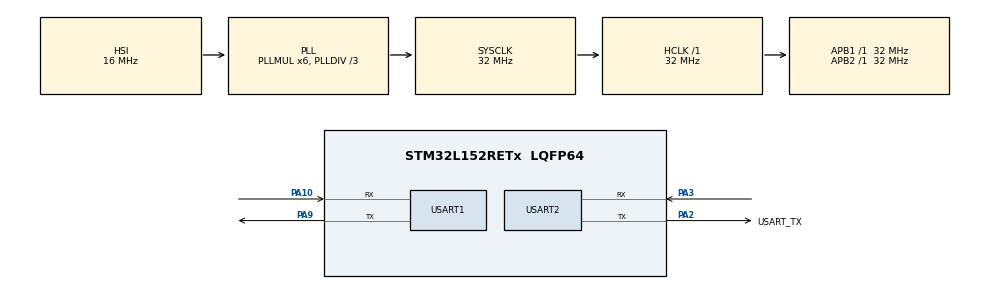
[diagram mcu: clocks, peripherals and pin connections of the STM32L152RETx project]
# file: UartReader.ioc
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Dma.Request0=USART1_RX
Dma.USART1_RX.0.Direction=DMA_PERIPH_TO_MEMORY
Dma.USART1_RX.0.Instance=DMA1_Channel5
Dma.USART1_RX.0.MemDataAlignment=DMA_MDATAALIGN_BYTE
Dma.USART1_RX.0.MemInc=DMA_MINC_ENABLE
Dma.USART1_RX.0.Mode=DMA_NORMAL
Dma.USART1_RX.0.PeriphDataAlignment=DMA_PDATAALIGN_BYTE
Dma.USART1_RX.0.PeriphInc=DMA_PINC_DISABLE
Dma.USART1_RX.0.Priority=DMA_PRIORITY_LOW
Mcu.Family=STM32L1
Mcu.Name=STM32L152RETx
Mcu.Package=LQFP64
NVIC.DMA1_Channel5_IRQn=true\:0\:0\:false\:false\:true\:false
NVIC.PriorityGroup=NVIC_PRIORITYGROUP_0
NVIC.USART1_IRQn=true\:0\:0\:false\:false\:true\:true
PA10.Mode=Asynchronous
PA10.Signal=USART1_RX
PA13.GPIO_Label=TMS
PA13.Signal=SYS_JTMS-SWDIO
PA14.GPIO_Label=TCK
PA14.Signal=SYS_JTCK-SWCLK
PA2.GPIO_Label=USART_TX
PA2.Mode=Asynchronous
PA2.Signal=USART2_TX
PA3.Mode=Asynchronous
PA3.Signal=USART2_RX
PA9.Mode=Asynchronous
PA9.Signal=USART1_TX
PB3.GPIO_Label=SWO
PB3.Signal=SYS_JTDO-TRACESWO
PC14-OSC32_IN.Signal=RCC_OSC32_IN
PC15-OSC32_OUT.Signal=RCC_OSC32_OUT
PH0-OSC_IN.Signal=RCC_OSC_IN
PH1-OSC_OUT.Signal=RCC_OSC_OUT
ProjectManager.HeapSize=0x200
ProjectManager.StackSize=0x400
ProjectManager.TargetToolchain=SW4STM32
RCC.48MHZClocksFreq_Value=48000000
RCC.AHBFreq_Value=32000000
RCC.APB1Freq_Value=32000000
RCC.APB1TimFreq_Value=32000000
RCC.APB2Freq_Value=32000000
RCC.APB2TimFreq_Value=32000000
RCC.HCLKFreq_Value=32000000
RCC.HSE_VALUE=8000000
RCC.HSI_VALUE=16000000
RCC.LSE_VALUE=32768
RCC.MSI_VALUE=2097000
RCC.PLLDIV=RCC_PLL_DIV3
RCC.PLLMUL=RCC_PLL_MUL6
RCC.RTCClockSelectionVirtual=RCC_RTCCLKSOURCE_LSE
RCC.SYSCLKFreq_VALUE=32000000
RCC.SYSCLKSource=RCC_SYSCLKSOURCE_PLLCLK
RCC.USBOutput=48000000
RCC.VCOOutputFreq_Value=96000000
USART1.VirtualMode=VM_ASYNC
USART2.VirtualMode=VM_ASYNC
board=NUCLEO-L152RE

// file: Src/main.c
/**
  ******************************************************************************
  * File Name          : main.c
  * Description        : Main program body
  ******************************************************************************
  ** This notice applies to any and all portions of this file
  * that are not between comment pairs USER CODE BEGIN and
  * USER CODE END. Other portions of this file, whether
  * inserted by the user or by software development tools
  * are owned by their respective copyright owners.
  *
  * COPYRIGHT(c) 2017 STMicroelectronics
  *
  * Redistribution and use in source and binary forms, with or without modification,
  * are permitted provided that the following conditions are met:
  *   1. Redistributions of source code must retain the above copyright notice,
  *      this list of conditions and the following disclaimer.
  *   2. Redistributions in binary form must reproduce the above copyright notice,
  *      this list of conditions and the following disclaimer in the documentation
  *      and/or other materials provided with the distribution.
  *   3. Neither the name of STMicroelectronics nor the names of its contributors
  *      may be used to endorse or promote products derived from this software
  *      without specific prior written permission.
  *
  * THIS SOFTWARE IS PROVIDED BY THE COPYRIGHT HOLDERS AND CONTRIBUTORS "AS IS"
  * AND ANY EXPRESS OR IMPLIED WARRANTIES, INCLUDING, BUT NOT LIMITED TO, THE
  * IMPLIED WARRANTIES OF MERCHANTABILITY AND FITNESS FOR A PARTICULAR PURPOSE ARE
  * DISCLAIMED. IN NO EVENT SHALL THE COPYRIGHT HOLDER OR CONTRIBUTORS BE LIABLE
  * FOR ANY DIRECT, INDIRECT, INCIDENTAL, SPECIAL, EXEMPLARY, OR CONSEQUENTIAL
  * DAMAGES (INCLUDING, BUT NOT LIMITED TO, PROCUREMENT OF SUBSTITUTE GOODS OR
  * SERVICES; LOSS OF USE, DATA, OR PROFITS; OR BUSINESS INTERRUPTION) HOWEVER
  * CAUSED AND ON ANY THEORY OF LIABILITY, WHETHER IN CONTRACT, STRICT LIABILITY,
  * OR TORT (INCLUDING NEGLIGENCE OR OTHERWISE) ARISING IN ANY WAY OUT OF THE USE
  * OF THIS SOFTWARE, EVEN IF ADVISED OF THE POSSIBILITY OF SUCH DAMAGE.
  *
  ******************************************************************************
  */

#include "main.h"
#include "stm32l1xx_hal.h"

UART_HandleTypeDef huart1;
UART_HandleTypeDef huart2;
DMA_HandleTypeDef hdma_usart1_rx;

/* USER CODE BEGIN PV */
/* Private variables ---------------------------------------------------------*/

/* USER CODE END PV */

void SystemClock_Config(void);
static void MX_GPIO_Init(void);
static void MX_DMA_Init(void);
static void MX_USART1_UART_Init(void);
static void MX_USART2_UART_Init(void);

/* USER CODE BEGIN PFP */
/* Private function prototypes -----------------------------------------------*/

/* USER CODE END PFP */

/* USER CODE BEGIN 0 */

uint8_t dataArrived = 0;

/* USER CODE END 0 */

int main(void)
{

  /* USER CODE BEGIN 1 */
	uint8_t msg[30];
	uint8_t startmsg[30];

  /* USER CODE END 1 */

  /* MCU Configuration----------------------------------------------------------*/

  /* Reset of all peripherals, Initializes the Flash interface and the Systick. */
  HAL_Init();

  /* Configure the system clock */
  SystemClock_Config();

  /* Initialize all configured peripherals */
  MX_GPIO_Init();
  MX_DMA_Init();
  MX_USART1_UART_Init();
  MX_USART2_UART_Init();

  /* USER CODE BEGIN 2 */

  sprintf(startmsg, "start\r\n");
  HAL_UART_Transmit(&huart2, startmsg, 9, HAL_MAX_DELAY);

  //Configure the DMA1 Channel 5, which is wired to the UART2_RX request line
  hdma_usart1_rx.Instance = DMA1_Channel5;
  hdma_usart1_rx.Init.Direction = DMA_PERIPH_TO_MEMORY;
  hdma_usart1_rx.Init.PeriphInc = DMA_PINC_DISABLE;
  hdma_usart1_rx.Init.MemInc = DMA_MINC_ENABLE;
  hdma_usart1_rx.Init.PeriphDataAlignment = DMA_PDATAALIGN_BYTE;
  hdma_usart1_rx.Init.MemDataAlignment = DMA_MDATAALIGN_BYTE;
  hdma_usart1_rx.Init.Mode = DMA_CIRCULAR;
  hdma_usart1_rx.Init.Priority = DMA_PRIORITY_LOW;
  HAL_DMA_Init(&hdma_usart1_rx);

  //Link the DMA descriptor to the UART2 one
  __HAL_LINKDMA(&huart1, hdmarx, hdma_usart1_rx);

  /* DMA interrupt init */

  /* Peripheral interrupt init */
  HAL_NVIC_SetPriority(USART1_IRQn, 0, 0);
  HAL_NVIC_EnableIRQ(USART1_IRQn);

  //Receive three bytes from UART2 in DMA mode
  uint8_t data[1];
  char output[80];
  int cnt = 0;

  HAL_UART_Receive_DMA(&huart1, &data, 1);

  /* USER CODE END 2 */

  /* Infinite loop */
  while (1)
  {

  /* USER CODE BEGIN 3 */

	  if(dataArrived==1){

		  //HAL_UART_Transmit(&huart2, data, 1, HAL_MAX_DELAY);
		  if((char *) data[0] == '*'){
			  char latitude[8];
			  int cntLat = 0;
			  char longitude[7];
			  int cntLong = 0;

			  for(int j = 0; j < cnt; j++){
				  if(output[j] == 'N' || output[j] == 'S'){
					  for(int k = j-10; k <j; k++){
						  if(output[k] == '.'){

						  }else if(cntLat == 2){
							  latitude[cntLat] = ',';
							  cntLat++;
						  }else{
							  latitude[cntLat] = output[k];
							  cntLat++;
						  }
					  }
				  }else if(output[j] == 'E' || output[j] == 'W'){
					  for(int k = j-9; k <j; k++){
						  if(output[k] == '.'){

						  }else if(cntLong == 1){
							  longitude[cntLong] = ',';
							  cntLong++;
						  }else{
							  longitude[cntLong] = output[k];
							  cntLong++;
						  }
					  }
				  }
			  }
			  char lat[5];
			  sprintf(lat,"lat: ");
			  char lon[5];
			  sprintf(lon,"lon: ");
			  char sep[1];
			  sprintf(sep,"|");
			  char end[2];
			  sprintf(end,"\r\n");

			  HAL_UART_Transmit(&huart2, lat, 5, HAL_MAX_DELAY);
			  HAL_UART_Transmit(&huart2, latitude, 8, HAL_MAX_DELAY);
			  HAL_UART_Transmit(&huart2, sep, 1, HAL_MAX_DELAY);
			  HAL_UART_Transmit(&huart2, lon, 5, HAL_MAX_DELAY);
			  HAL_UART_Transmit(&huart2, longitude, 7, HAL_MAX_DELAY);
			  HAL_UART_Transmit(&huart2, end, 2, HAL_MAX_DELAY);
			  cnt = 0;
		  }else{
			  output[cnt] = (char *) data[0];
			  cnt++;
		  }
		  dataArrived = 0;

	  }

	  //HAL_Delay(1000);
  }

  /* USER CODE END 3 */

}

//This callback is automatically called by the HAL when the DMA transfer is completed
void HAL_UART_RxCpltCallback(UART_HandleTypeDef *huart1) {
	dataArrived = 1;
}

/** System Clock Configuration
*/
void SystemClock_Config(void)
{

  RCC_OscInitTypeDef RCC_OscInitStruct;
  RCC_ClkInitTypeDef RCC_ClkInitStruct;

    /**Configure the main internal regulator output voltage
    */
  __HAL_PWR_VOLTAGESCALING_CONFIG(PWR_REGULATOR_VOLTAGE_SCALE1);

    /**Initializes the CPU, AHB and APB busses clocks
    */
  RCC_OscInitStruct.OscillatorType = RCC_OSCILLATORTYPE_HSI;
  RCC_OscInitStruct.HSIState = RCC_HSI_ON;
  RCC_OscInitStruct.HSICalibrationValue = 16;
  RCC_OscInitStruct.PLL.PLLState = RCC_PLL_ON;
  RCC_OscInitStruct.PLL.PLLSource = RCC_PLLSOURCE_HSI;
  RCC_OscInitStruct.PLL.PLLMUL = RCC_PLL_MUL6;
  RCC_OscInitStruct.PLL.PLLDIV = RCC_PLL_DIV3;
  if (HAL_RCC_OscConfig(&RCC_OscInitStruct) != HAL_OK)
  {
    _Error_Handler(__FILE__, __LINE__);
  }

    /**Initializes the CPU, AHB and APB busses clocks
    */
  RCC_ClkInitStruct.ClockType = RCC_CLOCKTYPE_HCLK|RCC_CLOCKTYPE_SYSCLK
                              |RCC_CLOCKTYPE_PCLK1|RCC_CLOCKTYPE_PCLK2;
  RCC_ClkInitStruct.SYSCLKSource = RCC_SYSCLKSOURCE_PLLCLK;
  RCC_ClkInitStruct.AHBCLKDivider = RCC_SYSCLK_DIV1;
  RCC_ClkInitStruct.APB1CLKDivider = RCC_HCLK_DIV1;
  RCC_ClkInitStruct.APB2CLKDivider = RCC_HCLK_DIV1;

  if (HAL_RCC_ClockConfig(&RCC_ClkInitStruct, FLASH_LATENCY_1) != HAL_OK)
  {
    _Error_Handler(__FILE__, __LINE__);
  }

    /**Configure the Systick interrupt time
    */
  HAL_SYSTICK_Config(HAL_RCC_GetHCLKFreq()/1000);

    /**Configure the Systick
    */
  HAL_SYSTICK_CLKSourceConfig(SYSTICK_CLKSOURCE_HCLK);

  /* SysTick_IRQn interrupt configuration */
  HAL_NVIC_SetPriority(SysTick_IRQn, 0, 0);
}

/* USART1 init function */
static void MX_USART1_UART_Init(void)
{

  huart1.Instance = USART1;
  huart1.Init.BaudRate = 4800;
  huart1.Init.WordLength = UART_WORDLENGTH_8B;
  huart1.Init.StopBits = UART_STOPBITS_1;
  huart1.Init.Parity = UART_PARITY_NONE;
  huart1.Init.Mode = UART_MODE_TX_RX;
  huart1.Init.HwFlowCtl = UART_HWCONTROL_NONE;
  huart1.Init.OverSampling = UART_OVERSAMPLING_16;
  if (HAL_UART_Init(&huart1) != HAL_OK)
  {
    _Error_Handler(__FILE__, __LINE__);
  }

}

/* USART2 init function */
static void MX_USART2_UART_Init(void)
{

  huart2.Instance = USART2;
  huart2.Init.BaudRate = 4800;
  huart2.Init.WordLength = UART_WORDLENGTH_8B;
  huart2.Init.StopBits = UART_STOPBITS_1;
  huart2.Init.Parity = UART_PARITY_NONE;
  huart2.Init.Mode = UART_MODE_TX_RX;
  huart2.Init.HwFlowCtl = UART_HWCONTROL_NONE;
  huart2.Init.OverSampling = UART_OVERSAMPLING_16;
  if (HAL_UART_Init(&huart2) != HAL_OK)
  {
    _Error_Handler(__FILE__, __LINE__);
  }

}

static void MX_DMA_Init(void)
{
  /* DMA controller clock enable */
  __HAL_RCC_DMA1_CLK_ENABLE();

  /* DMA interrupt init */
  /* DMA1_Channel5_IRQn interrupt configuration */
  HAL_NVIC_SetPriority(DMA1_Channel5_IRQn, 0, 0);
  HAL_NVIC_EnableIRQ(DMA1_Channel5_IRQn);

}

/** Configure pins as
        * Analog
        * Input
        * Output
        * EVENT_OUT
        * EXTI
*/
static void MX_GPIO_Init(void)
{

  /* GPIO Ports Clock Enable */
  __HAL_RCC_GPIOC_CLK_ENABLE();
  __HAL_RCC_GPIOH_CLK_ENABLE();
  __HAL_RCC_GPIOA_CLK_ENABLE();
  __HAL_RCC_GPIOB_CLK_ENABLE();

}

void _Error_Handler(char * file, int line)
{
  // USER CODE BEGIN Error_Handler_Debug
  // User can add his own implementation to report the HAL error return state
  while(1)
  {
  }
  // USER CODE END Error_Handler_Debug
}

/************************ (C) COPYRIGHT STMicroelectronics *****END OF FILE****/
